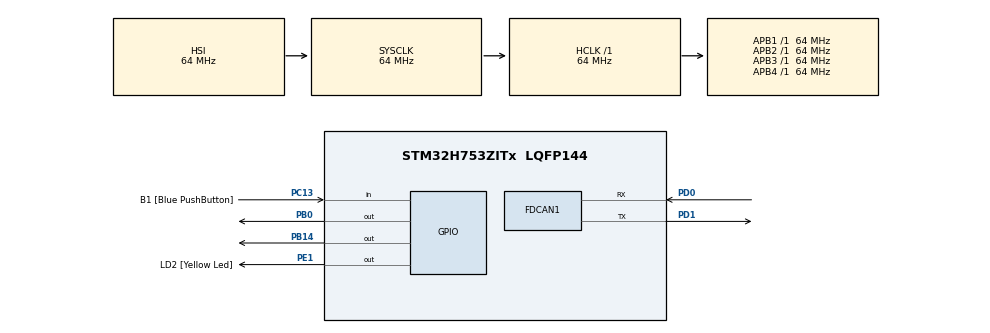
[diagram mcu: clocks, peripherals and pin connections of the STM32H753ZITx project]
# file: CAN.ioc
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CORTEX_M7.CPU_DCache=Disabled
CORTEX_M7.CPU_ICache=Disabled
CORTEX_M7.MPU_Control=__NULL
CORTEX_M7.default_mode_Activation=1
FDCAN1.CalculateBaudRateNominal=500000
FDCAN1.CalculateTimeBitNominal=2000
FDCAN1.CalculateTimeQuantumNominal=100.0
FDCAN1.ClockCalibrationCCU=DISABLE
FDCAN1.DataPrescaler=1
FDCAN1.DataSyncJumpWidth=9
FDCAN1.DataTimeSeg1=10
FDCAN1.DataTimeSeg2=9
FDCAN1.FrameFormat=FDCAN_FRAME_CLASSIC
FDCAN1.Mode=FDCAN_MODE_NORMAL
FDCAN1.NominalPrescaler=1
FDCAN1.NominalSyncJumpWidth=3
FDCAN1.NominalTimeSeg1=16
FDCAN1.NominalTimeSeg2=3
FDCAN1.RxBuffersNbr=0
FDCAN1.RxFifo0ElmtSize=FDCAN_DATA_BYTES_8
FDCAN1.RxFifo0ElmtsNbr=1
FDCAN1.RxFifo1ElmtsNbr=0
FDCAN1.StdFiltersNbr=1
FDCAN1.TxBuffersNbr=0
FDCAN1.TxElmtSize=FDCAN_DATA_BYTES_8
FDCAN1.TxEventsNbr=0
FDCAN1.TxFifoQueueElmtsNbr=1
Mcu.Family=STM32H7
Mcu.Name=STM32H753ZITx
Mcu.Package=LQFP144
NUCLEO-H753ZI.LD1=true
NUCLEO-H753ZI.LD2=true
NUCLEO-H753ZI.LD3=true
NUCLEO-H753ZI.VCP=true
NVIC.FDCAN1_IT0_IRQn=true\:0\:0\:false\:false\:true\:true\:true\:true
NVIC.PriorityGroup=NVIC_PRIORITYGROUP_4
PB0.Signal=GPIO_Output
PB14.Signal=GPIO_Output
PC13.GPIO_Label=B1 [Blue PushButton]
PC13.Signal=GPIO_Input
PC14-OSC32_IN\ (OSC32_IN).Signal=RCC_OSC32_IN
PC15-OSC32_OUT\ (OSC32_OUT).Signal=RCC_OSC32_OUT
PD0.Mode=FDCAN_Activate
PD0.Signal=FDCAN1_RX
PD1.Mode=FDCAN_Activate
PD1.Signal=FDCAN1_TX
PD8.Signal=USART3_TX
PD9.Signal=USART3_RX
PE1.GPIO_Label=LD2 [Yellow Led]
PE1.Signal=GPIO_Output
PH0-OSC_IN\ (PH0).Signal=RCC_OSC_IN
PH1-OSC_OUT\ (PH1).Signal=RCC_OSC_OUT
ProjectManager.HeapSize=0x200
ProjectManager.StackSize=0x400
ProjectManager.TargetToolchain=STM32CubeIDE
RCC.ADCFreq_Value=129000000
RCC.APB1Freq_Value=64000000
RCC.APB2Freq_Value=64000000
RCC.APB3Freq_Value=64000000
RCC.APB4Freq_Value=64000000
RCC.CortexFreq_Value=64000000
RCC.DIVM1=4
RCC.DIVN1=9
RCC.DIVQ1=15
RCC.HCLKFreq_Value=64000000
RCC.HSE_VALUE=8000000
RCC.PLLFRACN=3072
RCC.PWR_Regulator_Voltage_Scale=PWR_REGULATOR_VOLTAGE_SCALE2
RCC.SYSCLKFreq_VALUE=64000000
RCC.USBFreq_Value=10000000
VP_MEMORYMAP_VS_MEMORYMAP.Mode=CurAppReg
VP_NUCLEO-H753ZI_VS_BSP_COMMON.Mode=COMMON
board=NUCLEO-H753ZI

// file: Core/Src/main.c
/* USER CODE BEGIN Header */
/**
  ******************************************************************************
  * @file           : main.c
  * @brief          : Main program body
  ******************************************************************************
  * @attention
  *
  * Copyright (c) 2025 STMicroelectronics.
  * All rights reserved.
  *
  * This software is licensed under terms that can be found in the LICENSE file
  * in the root directory of this software component.
  * If no LICENSE file comes with this software, it is provided AS-IS.
  *
  ******************************************************************************
  */
/* USER CODE END Header */
#include "main.h"

/* USER CODE BEGIN Includes */
#include "string.h"

/* USER CODE END Includes */

COM_InitTypeDef BspCOMInit;

FDCAN_HandleTypeDef hfdcan1;

/* USER CODE BEGIN PV */
FDCAN_FilterTypeDef sFilterConfig;
FDCAN_TxHeaderTypeDef TxHeader;
FDCAN_RxHeaderTypeDef RxHeader;

uint8_t TxData[8]={0x12, 0x34, 0x56, 0x78, 0x9A, 0xBC, 0xDE, 0xFF};
uint8_t RxData[8];

/* USER CODE END PV */

void SystemClock_Config(void);
static void MX_GPIO_Init(void);
static void MX_FDCAN1_Init(void);

/* USER CODE BEGIN 0 */
void CAN_SendMessage(uint32_t id, uint8_t* data, uint8_t length) {
    // Setup TX Header for Extended ID
    TxHeader.Identifier = id;                   // 29-bit Identifier
    TxHeader.IdType = FDCAN_STANDARD_ID;        // Set Extended ID mode
    TxHeader.TxFrameType = FDCAN_DATA_FRAME;
    TxHeader.DataLength = FDCAN_DLC_BYTES_8;         // Length in bytes
    TxHeader.ErrorStateIndicator = FDCAN_ESI_ACTIVE;
    TxHeader.BitRateSwitch = FDCAN_BRS_OFF;
    TxHeader.FDFormat = FDCAN_CLASSIC_CAN;
    TxHeader.TxEventFifoControl = FDCAN_NO_TX_EVENTS;
    TxHeader.MessageMarker = 0;

    // Copy data
    memcpy(TxData, data, length);

    if (HAL_FDCAN_AddMessageToTxFifoQ(&hfdcan1, &TxHeader, TxData) != HAL_OK) {
        Error_Handler();
    }
}

void HAL_FDCAN_RxFifo0Callback(FDCAN_HandleTypeDef *hfdcan, uint32_t RxFifo0ITs) {
//	BSP_LED_Toggle(LED_RED);
    if ((RxFifo0ITs & FDCAN_IT_RX_FIFO0_NEW_MESSAGE) != RESET) {
//        FDCAN_RxHeaderTypeDef RxHeader;
//        uint8_t RxData[8];

        // Read the received message
        if (HAL_FDCAN_GetRxMessage(hfdcan, FDCAN_RX_FIFO0, &RxHeader, RxData) == HAL_OK) {
            printf("Interrupt: Received ID: 0x%X, Data: %X %X %X %X %X %X %X %X\r\n",
                   RxHeader.Identifier, RxData[0], RxData[1], RxData[2], RxData[3],
                   RxData[4], RxData[5], RxData[6], RxData[7]);
        }
    }
}

//void CAN_ReceiveMessage(void) {
//    if (HAL_FDCAN_GetRxMessage(&hfdcan1, FDCAN_RX_FIFO0, &RxHeader, RxData) == HAL_OK) {
//        if (RxHeader.IdType == FDCAN_EXTENDED_ID) {
//            printf("Received Extended ID: 0x%X, Data: %X %X %X %X %X %X %X %X\n",
//                   RxHeader.Identifier, RxData[0], RxData[1], RxData[2], RxData[3],
//                   RxData[4], RxData[5], RxData[6], RxData[7]);
//        } else {
//            printf("Received Standard ID: 0x%X\n", RxHeader.Identifier);
//        }
//    }
//}
/* USER CODE END 0 */

int main(void)
{

  /* MCU Configuration--------------------------------------------------------*/

  /* Reset of all peripherals, Initializes the Flash interface and the Systick. */
  HAL_Init();

  /* Configure the system clock */
  SystemClock_Config();

  /* Initialize all configured peripherals */
  MX_GPIO_Init();
  MX_FDCAN1_Init();
  /* USER CODE BEGIN 2 */
  if(HAL_FDCAN_Start(&hfdcan1)!= HAL_OK)
    {
  	  Error_Handler();
    }
    if (HAL_FDCAN_ActivateNotification(&hfdcan1, FDCAN_IT_RX_FIFO0_NEW_MESSAGE, 0) != HAL_OK)
    {
      /* Notification Error */
      Error_Handler();
    }

  /* USER CODE END 2 */

  /* Initialize leds */
  BSP_LED_Init(LED_GREEN);
  BSP_LED_Init(LED_BLUE);
  BSP_LED_Init(LED_RED);

  /* Initialize COM1 port (115200, 8 bits (7-bit data + 1 stop bit), no parity */
  BspCOMInit.BaudRate   = 115200;
  BspCOMInit.WordLength = COM_WORDLENGTH_8B;
  BspCOMInit.StopBits   = COM_STOPBITS_1;
  BspCOMInit.Parity     = COM_PARITY_NONE;
  BspCOMInit.HwFlowCtl  = COM_HWCONTROL_NONE;
  if (BSP_COM_Init(COM1, &BspCOMInit) != BSP_ERROR_NONE)
  {
    Error_Handler();
  }

  /* Infinite loop */
  /* USER CODE BEGIN WHILE */
  while (1)
  {
	  BSP_LED_Toggle(LED_GREEN);
	  CAN_SendMessage(200, TxData, 8);  // Send message every second
	  HAL_Delay(1000);  // Wait 1 second

    /* USER CODE END WHILE */

  }
}

void SystemClock_Config(void)
{
  RCC_OscInitTypeDef RCC_OscInitStruct = {0};
  RCC_ClkInitTypeDef RCC_ClkInitStruct = {0};

  /** Supply configuration update enable
  */
  HAL_PWREx_ConfigSupply(PWR_LDO_SUPPLY);

  /** Configure the main internal regulator output voltage
  */
  __HAL_PWR_VOLTAGESCALING_CONFIG(PWR_REGULATOR_VOLTAGE_SCALE2);

  while(!__HAL_PWR_GET_FLAG(PWR_FLAG_VOSRDY)) {}

  /** Initializes the RCC Oscillators according to the specified parameters
  * in the RCC_OscInitTypeDef structure.
  */
  RCC_OscInitStruct.OscillatorType = RCC_OSCILLATORTYPE_HSI;
  RCC_OscInitStruct.HSIState = RCC_HSI_DIV1;
  RCC_OscInitStruct.HSICalibrationValue = RCC_HSICALIBRATION_DEFAULT;
  RCC_OscInitStruct.PLL.PLLState = RCC_PLL_ON;
  RCC_OscInitStruct.PLL.PLLSource = RCC_PLLSOURCE_HSI;
  RCC_OscInitStruct.PLL.PLLM = 4;
  RCC_OscInitStruct.PLL.PLLN = 9;
  RCC_OscInitStruct.PLL.PLLP = 2;
  RCC_OscInitStruct.PLL.PLLQ = 15;
  RCC_OscInitStruct.PLL.PLLR = 2;
  RCC_OscInitStruct.PLL.PLLRGE = RCC_PLL1VCIRANGE_3;
  RCC_OscInitStruct.PLL.PLLVCOSEL = RCC_PLL1VCOMEDIUM;
  RCC_OscInitStruct.PLL.PLLFRACN = 3072;
  if (HAL_RCC_OscConfig(&RCC_OscInitStruct) != HAL_OK)
  {
    Error_Handler();
  }

  /** Initializes the CPU, AHB and APB buses clocks
  */
  RCC_ClkInitStruct.ClockType = RCC_CLOCKTYPE_HCLK|RCC_CLOCKTYPE_SYSCLK
                              |RCC_CLOCKTYPE_PCLK1|RCC_CLOCKTYPE_PCLK2
                              |RCC_CLOCKTYPE_D3PCLK1|RCC_CLOCKTYPE_D1PCLK1;
  RCC_ClkInitStruct.SYSCLKSource = RCC_SYSCLKSOURCE_HSI;
  RCC_ClkInitStruct.SYSCLKDivider = RCC_SYSCLK_DIV1;
  RCC_ClkInitStruct.AHBCLKDivider = RCC_HCLK_DIV1;
  RCC_ClkInitStruct.APB3CLKDivider = RCC_APB3_DIV1;
  RCC_ClkInitStruct.APB1CLKDivider = RCC_APB1_DIV1;
  RCC_ClkInitStruct.APB2CLKDivider = RCC_APB2_DIV1;
  RCC_ClkInitStruct.APB4CLKDivider = RCC_APB4_DIV1;

  if (HAL_RCC_ClockConfig(&RCC_ClkInitStruct, FLASH_LATENCY_1) != HAL_OK)
  {
    Error_Handler();
  }
}

static void MX_FDCAN1_Init(void)
{

  hfdcan1.Instance = FDCAN1;
  hfdcan1.Init.FrameFormat = FDCAN_FRAME_CLASSIC;
  hfdcan1.Init.Mode = FDCAN_MODE_NORMAL;
  hfdcan1.Init.AutoRetransmission = DISABLE;
  hfdcan1.Init.TransmitPause = DISABLE;
  hfdcan1.Init.ProtocolException = DISABLE;
  hfdcan1.Init.NominalPrescaler = 1;
  hfdcan1.Init.NominalSyncJumpWidth = 3;
  hfdcan1.Init.NominalTimeSeg1 = 16;
  hfdcan1.Init.NominalTimeSeg2 = 3;
  hfdcan1.Init.DataPrescaler = 1;
  hfdcan1.Init.DataSyncJumpWidth = 9;
  hfdcan1.Init.DataTimeSeg1 = 10;
  hfdcan1.Init.DataTimeSeg2 = 9;
  hfdcan1.Init.MessageRAMOffset = 0;
  hfdcan1.Init.StdFiltersNbr = 1;
  hfdcan1.Init.ExtFiltersNbr = 0;
  hfdcan1.Init.RxFifo0ElmtsNbr = 1;
  hfdcan1.Init.RxFifo0ElmtSize = FDCAN_DATA_BYTES_8;
  hfdcan1.Init.RxFifo1ElmtsNbr = 0;
  hfdcan1.Init.RxFifo1ElmtSize = FDCAN_DATA_BYTES_8;
  hfdcan1.Init.RxBuffersNbr = 0;
  hfdcan1.Init.RxBufferSize = FDCAN_DATA_BYTES_8;
  hfdcan1.Init.TxEventsNbr = 0;
  hfdcan1.Init.TxBuffersNbr = 0;
  hfdcan1.Init.TxFifoQueueElmtsNbr = 1;
  hfdcan1.Init.TxFifoQueueMode = FDCAN_TX_FIFO_OPERATION;
  hfdcan1.Init.TxElmtSize = FDCAN_DATA_BYTES_8;
  if (HAL_FDCAN_Init(&hfdcan1) != HAL_OK)
  {
    Error_Handler();
  }
  /* USER CODE BEGIN FDCAN1_Init 2 */
  // Configure filter to accept all Extended ID messages
//  sFilterConfig.IdType = FDCAN_STANDARD_ID;
//  sFilterConfig.FilterIndex = 0;
//  sFilterConfig.FilterType = FDCAN_FILTER_MASK;
//  sFilterConfig.FilterConfig = FDCAN_FILTER_TO_RXFIFO0;
//  sFilterConfig.FilterID1 = 0x36;
//  sFilterConfig.FilterID2 = 0x36;
//  sFilterConfig.RxBufferIndex = 0;
//  if (HAL_FDCAN_ConfigFilter(&hfdcan1, &sFilterConfig) != HAL_OK)
//  {
//      /* Filter configuration Error */
//	  Error_Handler();
//  }

  /* USER CODE END FDCAN1_Init 2 */

}

static void MX_GPIO_Init(void)
{
  GPIO_InitTypeDef GPIO_InitStruct = {0};

  /* GPIO Ports Clock Enable */
  __HAL_RCC_GPIOC_CLK_ENABLE();
  __HAL_RCC_GPIOH_CLK_ENABLE();
  __HAL_RCC_GPIOD_CLK_ENABLE();
  __HAL_RCC_GPIOE_CLK_ENABLE();

  /*Configure GPIO pin Output Level */
  HAL_GPIO_WritePin(LD2_GPIO_Port, LD2_Pin, GPIO_PIN_RESET);

  /*Configure GPIO pin : B1_Pin */
  GPIO_InitStruct.Pin = B1_Pin;
  GPIO_InitStruct.Mode = GPIO_MODE_INPUT;
  GPIO_InitStruct.Pull = GPIO_NOPULL;
  HAL_GPIO_Init(B1_GPIO_Port, &GPIO_InitStruct);

  /*Configure GPIO pin : LD2_Pin */
  GPIO_InitStruct.Pin = LD2_Pin;
  GPIO_InitStruct.Mode = GPIO_MODE_OUTPUT_PP;
  GPIO_InitStruct.Pull = GPIO_NOPULL;
  GPIO_InitStruct.Speed = GPIO_SPEED_FREQ_LOW;
  HAL_GPIO_Init(LD2_GPIO_Port, &GPIO_InitStruct);

}

void Error_Handler(void)
{
  /* USER CODE BEGIN Error_Handler_Debug */
  /* User can add his own implementation to report the HAL error return state */
  __disable_irq();
  while (1)
  {
	  BSP_LED_Toggle(LED_RED);
	  HAL_Delay(100);
  }
  /* USER CODE END Error_Handler_Debug */
}
